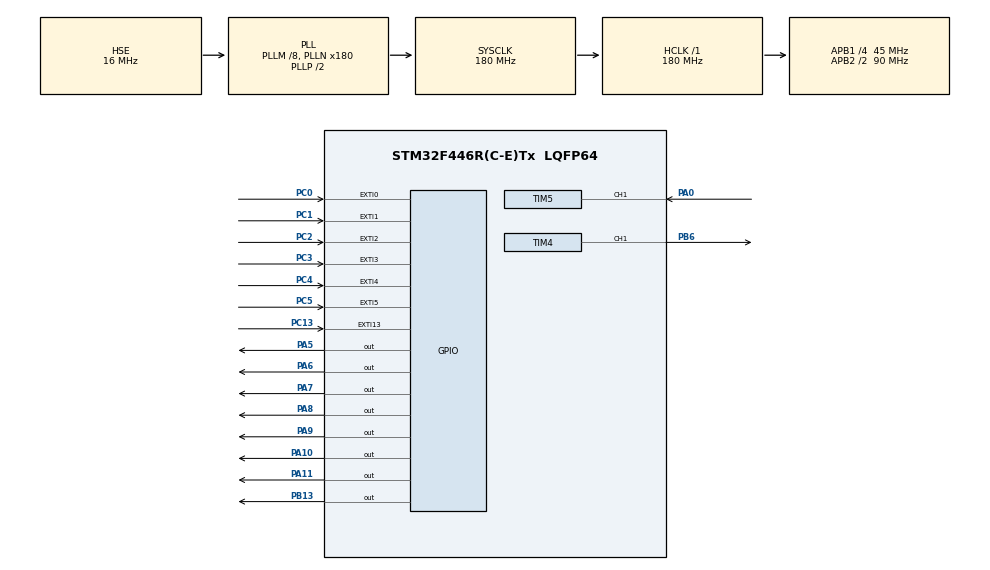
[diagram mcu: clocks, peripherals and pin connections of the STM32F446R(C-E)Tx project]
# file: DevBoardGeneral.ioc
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Dma.Request0=TIM5_CH1
Dma.Request1=TIM4_CH1
Dma.TIM4_CH1.1.Direction=DMA_PERIPH_TO_MEMORY
Dma.TIM4_CH1.1.FIFOMode=DMA_FIFOMODE_DISABLE
Dma.TIM4_CH1.1.Instance=DMA1_Stream0
Dma.TIM4_CH1.1.MemDataAlignment=DMA_MDATAALIGN_HALFWORD
Dma.TIM4_CH1.1.MemInc=DMA_MINC_ENABLE
Dma.TIM4_CH1.1.Mode=DMA_CIRCULAR
Dma.TIM4_CH1.1.PeriphDataAlignment=DMA_PDATAALIGN_HALFWORD
Dma.TIM4_CH1.1.PeriphInc=DMA_PINC_DISABLE
Dma.TIM4_CH1.1.Priority=DMA_PRIORITY_MEDIUM
Dma.TIM5_CH1.0.Direction=DMA_PERIPH_TO_MEMORY
Dma.TIM5_CH1.0.FIFOMode=DMA_FIFOMODE_DISABLE
Dma.TIM5_CH1.0.Instance=DMA1_Stream2
Dma.TIM5_CH1.0.MemDataAlignment=DMA_MDATAALIGN_WORD
Dma.TIM5_CH1.0.MemInc=DMA_MINC_ENABLE
Dma.TIM5_CH1.0.Mode=DMA_CIRCULAR
Dma.TIM5_CH1.0.PeriphDataAlignment=DMA_PDATAALIGN_WORD
Dma.TIM5_CH1.0.PeriphInc=DMA_PINC_DISABLE
Dma.TIM5_CH1.0.Priority=DMA_PRIORITY_HIGH
Mcu.Family=STM32F4
Mcu.Name=STM32F446R(C-E)Tx
Mcu.Package=LQFP64
NVIC.DMA1_Stream0_IRQn=true\:0\:0\:false\:false\:true
NVIC.DMA1_Stream2_IRQn=true\:0\:0\:false\:false\:true
NVIC.EXTI0_IRQn=true\:0\:0\:false\:false\:true
NVIC.EXTI15_10_IRQn=true\:0\:0\:false\:false\:true
NVIC.EXTI1_IRQn=true\:0\:0\:false\:false\:true
NVIC.EXTI2_IRQn=true\:0\:0\:false\:false\:true
NVIC.EXTI3_IRQn=true\:0\:0\:false\:false\:true
NVIC.EXTI4_IRQn=true\:0\:0\:false\:false\:true
NVIC.EXTI9_5_IRQn=true\:0\:0\:false\:false\:true
NVIC.PriorityGroup=NVIC_PRIORITYGROUP_4
NVIC.TIM1_UP_TIM10_IRQn=true\:0\:0\:false\:false\:true
NVIC.TIM4_IRQn=true\:0\:0\:false\:false\:true
NVIC.TIM5_IRQn=true\:0\:0\:false\:false\:true
PA0-WKUP.GPIO_Speed=GPIO_SPEED_FREQ_HIGH
PA0-WKUP.Signal=S_TIM5_CH1
PA10.GPIO_Speed=GPIO_SPEED_FREQ_HIGH
PA10.Signal=GPIO_Output
PA11.GPIO_Speed=GPIO_SPEED_FREQ_HIGH
PA11.Signal=GPIO_Output
PA13.Mode=Serial_Wire
PA13.Signal=SYS_JTMS-SWDIO
PA14.Mode=Serial_Wire
PA14.Signal=SYS_JTCK-SWCLK
PA5.GPIO_Speed=GPIO_SPEED_FREQ_HIGH
PA5.PinState=GPIO_PIN_SET
PA5.Signal=GPIO_Output
PA6.GPIO_Speed=GPIO_SPEED_FREQ_HIGH
PA6.Signal=GPIO_Output
PA7.GPIO_Speed=GPIO_SPEED_FREQ_HIGH
PA7.Signal=GPIO_Output
PA8.GPIO_Speed=GPIO_SPEED_FREQ_HIGH
PA8.Signal=GPIO_Output
PA9.GPIO_Speed=GPIO_SPEED_FREQ_HIGH
PA9.Signal=GPIO_Output
PB13.GPIO_Speed=GPIO_SPEED_FREQ_HIGH
PB13.PinState=GPIO_PIN_SET
PB13.Signal=GPIO_Output
PB6.GPIO_Speed=GPIO_SPEED_FREQ_HIGH
PB6.Signal=S_TIM4_CH1
PC0.Signal=GPXTI0
PC1.Signal=GPXTI1
PC13.Signal=GPXTI13
PC2.Signal=GPXTI2
PC3.Signal=GPXTI3
PC4.Signal=GPXTI4
PC5.Signal=GPXTI5
PH0-OSC_IN.Mode=HSE-External-Oscillator
PH0-OSC_IN.Signal=RCC_OSC_IN
PH1-OSC_OUT.Mode=HSE-External-Oscillator
PH1-OSC_OUT.Signal=RCC_OSC_OUT
ProjectManager.HeapSize=0x200
ProjectManager.StackSize=0x400
ProjectManager.TargetToolchain=MDK-ARM V5
RCC.AHBFreq_Value=180000000
RCC.APB1CLKDivider=RCC_HCLK_DIV4
RCC.APB1Freq_Value=45000000
RCC.APB1TimFreq_Value=90000000
RCC.APB2CLKDivider=RCC_HCLK_DIV2
RCC.APB2Freq_Value=90000000
RCC.APB2TimFreq_Value=180000000
RCC.CortexFreq_Value=180000000
RCC.HCLKFreq_Value=180000000
RCC.HSE_VALUE=16000000
RCC.PLLM=8
RCC.PLLN=180
RCC.PLLSourceVirtual=RCC_PLLSOURCE_HSE
RCC.SYSCLKFreq_VALUE=180000000
RCC.SYSCLKSource=RCC_SYSCLKSOURCE_PLLCLK
RCC.USBFreq_Value=180000000
RCC.VCOOutputFreq_Value=360000000
SH.S_TIM4_CH1.0=TIM4_CH1,PWM Generation1 CH1
SH.S_TIM5_CH1.0=TIM5_CH1,Input_Capture1_from_TI1
TIM1.Period=999
TIM1.Prescaler=179
TIM4.Channel-PWM\ Generation1\ CH1=TIM_CHANNEL_1
TIM4.Period=1799
TIM4.Pulse-PWM\ Generation1\ CH1=999
TIM5.Channel-Input_Capture1_from_TI1=TIM_CHANNEL_1
TIM5.Period=179999999
VP_TIM1_VS_ClockSourceINT.Mode=Internal
VP_TIM4_VS_ClockSourceINT.Mode=Internal
VP_TIM5_VS_ClockSourceINT.Mode=Internal
board=DevBoardGeneral

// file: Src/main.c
/**
  ******************************************************************************
  * File Name          : main.c
  * Description        : Main program body
  ******************************************************************************
  ** This notice applies to any and all portions of this file
  * that are not between comment pairs USER CODE BEGIN and
  * USER CODE END. Other portions of this file, whether
  * inserted by the user or by software development tools
  * are owned by their respective copyright owners.
  *
  * COPYRIGHT(c) 2018 STMicroelectronics
  *
  * Redistribution and use in source and binary forms, with or without modification,
  * are permitted provided that the following conditions are met:
  *   1. Redistributions of source code must retain the above copyright notice,
  *      this list of conditions and the following disclaimer.
  *   2. Redistributions in binary form must reproduce the above copyright notice,
  *      this list of conditions and the following disclaimer in the documentation
  *      and/or other materials provided with the distribution.
  *   3. Neither the name of STMicroelectronics nor the names of its contributors
  *      may be used to endorse or promote products derived from this software
  *      without specific prior written permission.
  *
  * THIS SOFTWARE IS PROVIDED BY THE COPYRIGHT HOLDERS AND CONTRIBUTORS "AS IS"
  * AND ANY EXPRESS OR IMPLIED WARRANTIES, INCLUDING, BUT NOT LIMITED TO, THE
  * IMPLIED WARRANTIES OF MERCHANTABILITY AND FITNESS FOR A PARTICULAR PURPOSE ARE
  * DISCLAIMED. IN NO EVENT SHALL THE COPYRIGHT HOLDER OR CONTRIBUTORS BE LIABLE
  * FOR ANY DIRECT, INDIRECT, INCIDENTAL, SPECIAL, EXEMPLARY, OR CONSEQUENTIAL
  * DAMAGES (INCLUDING, BUT NOT LIMITED TO, PROCUREMENT OF SUBSTITUTE GOODS OR
  * SERVICES; LOSS OF USE, DATA, OR PROFITS; OR BUSINESS INTERRUPTION) HOWEVER
  * CAUSED AND ON ANY THEORY OF LIABILITY, WHETHER IN CONTRACT, STRICT LIABILITY,
  * OR TORT (INCLUDING NEGLIGENCE OR OTHERWISE) ARISING IN ANY WAY OUT OF THE USE
  * OF THIS SOFTWARE, EVEN IF ADVISED OF THE POSSIBILITY OF SUCH DAMAGE.
  *
  ******************************************************************************
  */
#include "main.h"
#include "stm32f4xx_hal.h"

TIM_HandleTypeDef htim1;
TIM_HandleTypeDef htim4;
TIM_HandleTypeDef htim5;
DMA_HandleTypeDef hdma_tim4_ch1;
DMA_HandleTypeDef hdma_tim5_ch1;

/* USER CODE BEGIN PV */
/* Private variables ---------------------------------------------------------*/
uint32_t user_status = 0;

/* USER CODE END PV */

void SystemClock_Config(void);
static void MX_GPIO_Init(void);
static void MX_DMA_Init(void);
static void MX_TIM1_Init(void);
static void MX_TIM4_Init(void);
static void MX_TIM5_Init(void);

void HAL_TIM_MspPostInit(TIM_HandleTypeDef *htim);

/* USER CODE BEGIN PFP */
/* Private function prototypes -----------------------------------------------*/
void FLASH_Write(uint32_t _address, uint32_t _data);
uint32_t FLASH_Read(uint32_t _address);
/* USER CODE END PFP */

int main(void)
{

  /* MCU Configuration----------------------------------------------------------*/

  /* Reset of all peripherals, Initializes the Flash interface and the Systick. */
  HAL_Init();

  /* Configure the system clock */
  SystemClock_Config();

  /* Initialize all configured peripherals */
  MX_GPIO_Init();
  MX_DMA_Init();
  MX_TIM1_Init();
  MX_TIM4_Init();
  MX_TIM5_Init();

  /* USER CODE BEGIN 2 */
	HAL_TIM_Base_Start_IT(&htim1);
	HAL_TIM_Base_Start_IT(&htim4);
	HAL_TIM_Base_Start_IT(&htim5);
	HAL_TIM_PWM_Start(&htim4, TIM_CHANNEL_1);
	HAL_TIM_IC_Start_IT(&htim5, TIM_CHANNEL_1);

	// OFF with the on board led
	GPIOB->BSRR = (uint16_t)GPIO_PIN_13 << 16;
	GPIOA->BSRR = (uint16_t)GPIO_PIN_5 << 16;

	user_status = FLASH_Read(0x08060000); // start of sector 7

	if(user_status == 0x01){
		GPIOA->BSRR = GPIO_PIN_5;
	}else{
		FLASH_Write(0x08060000, 0x01);
	}

  /* USER CODE END 2 */

  /* Infinite loop */
  while (1)
  {

  }

}

/** System Clock Configuration
*/
void SystemClock_Config(void)
{

  RCC_OscInitTypeDef RCC_OscInitStruct;
  RCC_ClkInitTypeDef RCC_ClkInitStruct;

    /**Configure the main internal regulator output voltage
    */
  __HAL_RCC_PWR_CLK_ENABLE();

  __HAL_PWR_VOLTAGESCALING_CONFIG(PWR_REGULATOR_VOLTAGE_SCALE1);

    /**Initializes the CPU, AHB and APB busses clocks
    */
  RCC_OscInitStruct.OscillatorType = RCC_OSCILLATORTYPE_HSE;
  RCC_OscInitStruct.HSEState = RCC_HSE_ON;
  RCC_OscInitStruct.PLL.PLLState = RCC_PLL_ON;
  RCC_OscInitStruct.PLL.PLLSource = RCC_PLLSOURCE_HSE;
  RCC_OscInitStruct.PLL.PLLM = 8;
  RCC_OscInitStruct.PLL.PLLN = 180;
  RCC_OscInitStruct.PLL.PLLP = RCC_PLLP_DIV2;
  RCC_OscInitStruct.PLL.PLLQ = 2;
  RCC_OscInitStruct.PLL.PLLR = 2;
  if (HAL_RCC_OscConfig(&RCC_OscInitStruct) != HAL_OK)
  {
    _Error_Handler(__FILE__, __LINE__);
  }

    /**Activate the Over-Drive mode
    */
  if (HAL_PWREx_EnableOverDrive() != HAL_OK)
  {
    _Error_Handler(__FILE__, __LINE__);
  }

    /**Initializes the CPU, AHB and APB busses clocks
    */
  RCC_ClkInitStruct.ClockType = RCC_CLOCKTYPE_HCLK|RCC_CLOCKTYPE_SYSCLK
                              |RCC_CLOCKTYPE_PCLK1|RCC_CLOCKTYPE_PCLK2;
  RCC_ClkInitStruct.SYSCLKSource = RCC_SYSCLKSOURCE_PLLCLK;
  RCC_ClkInitStruct.AHBCLKDivider = RCC_SYSCLK_DIV1;
  RCC_ClkInitStruct.APB1CLKDivider = RCC_HCLK_DIV4;
  RCC_ClkInitStruct.APB2CLKDivider = RCC_HCLK_DIV2;

  if (HAL_RCC_ClockConfig(&RCC_ClkInitStruct, FLASH_LATENCY_5) != HAL_OK)
  {
    _Error_Handler(__FILE__, __LINE__);
  }

    /**Configure the Systick interrupt time
    */
  HAL_SYSTICK_Config(HAL_RCC_GetHCLKFreq()/1000);

    /**Configure the Systick
    */
  HAL_SYSTICK_CLKSourceConfig(SYSTICK_CLKSOURCE_HCLK);

  /* SysTick_IRQn interrupt configuration */
  HAL_NVIC_SetPriority(SysTick_IRQn, 0, 0);
}

/* TIM1 init function */
static void MX_TIM1_Init(void)
{

  TIM_ClockConfigTypeDef sClockSourceConfig;
  TIM_MasterConfigTypeDef sMasterConfig;

  htim1.Instance = TIM1;
  htim1.Init.Prescaler = 9;
  htim1.Init.CounterMode = TIM_COUNTERMODE_UP;
  htim1.Init.Period = 17999;
  htim1.Init.ClockDivision = TIM_CLOCKDIVISION_DIV1;
  htim1.Init.RepetitionCounter = 0;
  if (HAL_TIM_Base_Init(&htim1) != HAL_OK)
  {
    _Error_Handler(__FILE__, __LINE__);
  }

  sClockSourceConfig.ClockSource = TIM_CLOCKSOURCE_INTERNAL;
  if (HAL_TIM_ConfigClockSource(&htim1, &sClockSourceConfig) != HAL_OK)
  {
    _Error_Handler(__FILE__, __LINE__);
  }

  sMasterConfig.MasterOutputTrigger = TIM_TRGO_RESET;
  sMasterConfig.MasterSlaveMode = TIM_MASTERSLAVEMODE_DISABLE;
  if (HAL_TIMEx_MasterConfigSynchronization(&htim1, &sMasterConfig) != HAL_OK)
  {
    _Error_Handler(__FILE__, __LINE__);
  }

}

/* TIM4 init function */
static void MX_TIM4_Init(void)
{

  TIM_ClockConfigTypeDef sClockSourceConfig;
  TIM_MasterConfigTypeDef sMasterConfig;
  TIM_OC_InitTypeDef sConfigOC;

  htim4.Instance = TIM4;
  htim4.Init.Prescaler = 9;
  htim4.Init.CounterMode = TIM_COUNTERMODE_UP;
  htim4.Init.Period = 8999;
  htim4.Init.ClockDivision = TIM_CLOCKDIVISION_DIV1;
  if (HAL_TIM_Base_Init(&htim4) != HAL_OK)
  {
    _Error_Handler(__FILE__, __LINE__);
  }

  sClockSourceConfig.ClockSource = TIM_CLOCKSOURCE_INTERNAL;
  if (HAL_TIM_ConfigClockSource(&htim4, &sClockSourceConfig) != HAL_OK)
  {
    _Error_Handler(__FILE__, __LINE__);
  }

  if (HAL_TIM_PWM_Init(&htim4) != HAL_OK)
  {
    _Error_Handler(__FILE__, __LINE__);
  }

  sMasterConfig.MasterOutputTrigger = TIM_TRGO_RESET;
  sMasterConfig.MasterSlaveMode = TIM_MASTERSLAVEMODE_DISABLE;
  if (HAL_TIMEx_MasterConfigSynchronization(&htim4, &sMasterConfig) != HAL_OK)
  {
    _Error_Handler(__FILE__, __LINE__);
  }

  sConfigOC.OCMode = TIM_OCMODE_PWM1;
  sConfigOC.Pulse = 999;
  sConfigOC.OCPolarity = TIM_OCPOLARITY_HIGH;
  sConfigOC.OCFastMode = TIM_OCFAST_DISABLE;
  if (HAL_TIM_PWM_ConfigChannel(&htim4, &sConfigOC, TIM_CHANNEL_1) != HAL_OK)
  {
    _Error_Handler(__FILE__, __LINE__);
  }

  HAL_TIM_MspPostInit(&htim4);

}

/* TIM5 init function */
static void MX_TIM5_Init(void)
{

  TIM_ClockConfigTypeDef sClockSourceConfig;
  TIM_MasterConfigTypeDef sMasterConfig;
  TIM_IC_InitTypeDef sConfigIC;

  htim5.Instance = TIM5;
  htim5.Init.Prescaler = 0;
  htim5.Init.CounterMode = TIM_COUNTERMODE_UP;
  htim5.Init.Period = 89999999;
  htim5.Init.ClockDivision = TIM_CLOCKDIVISION_DIV1;
  if (HAL_TIM_Base_Init(&htim5) != HAL_OK)
  {
    _Error_Handler(__FILE__, __LINE__);
  }

  sClockSourceConfig.ClockSource = TIM_CLOCKSOURCE_INTERNAL;
  if (HAL_TIM_ConfigClockSource(&htim5, &sClockSourceConfig) != HAL_OK)
  {
    _Error_Handler(__FILE__, __LINE__);
  }

  if (HAL_TIM_IC_Init(&htim5) != HAL_OK)
  {
    _Error_Handler(__FILE__, __LINE__);
  }

  sMasterConfig.MasterOutputTrigger = TIM_TRGO_RESET;
  sMasterConfig.MasterSlaveMode = TIM_MASTERSLAVEMODE_DISABLE;
  if (HAL_TIMEx_MasterConfigSynchronization(&htim5, &sMasterConfig) != HAL_OK)
  {
    _Error_Handler(__FILE__, __LINE__);
  }

  sConfigIC.ICPolarity = TIM_INPUTCHANNELPOLARITY_RISING;
  sConfigIC.ICSelection = TIM_ICSELECTION_DIRECTTI;
  sConfigIC.ICPrescaler = TIM_ICPSC_DIV1;
  sConfigIC.ICFilter = 0;
  if (HAL_TIM_IC_ConfigChannel(&htim5, &sConfigIC, TIM_CHANNEL_1) != HAL_OK)
  {
    _Error_Handler(__FILE__, __LINE__);
  }

}

static void MX_DMA_Init(void)
{
  /* DMA controller clock enable */
  __HAL_RCC_DMA1_CLK_ENABLE();

  /* DMA interrupt init */
  /* DMA1_Stream0_IRQn interrupt configuration */
  HAL_NVIC_SetPriority(DMA1_Stream0_IRQn, 0, 0);
  HAL_NVIC_EnableIRQ(DMA1_Stream0_IRQn);
  /* DMA1_Stream2_IRQn interrupt configuration */
  HAL_NVIC_SetPriority(DMA1_Stream2_IRQn, 0, 0);
  HAL_NVIC_EnableIRQ(DMA1_Stream2_IRQn);

}

/** Configure pins as
        * Analog
        * Input
        * Output
        * EVENT_OUT
        * EXTI
*/
static void MX_GPIO_Init(void)
{

  GPIO_InitTypeDef GPIO_InitStruct;

  /* GPIO Ports Clock Enable */
  __HAL_RCC_GPIOC_CLK_ENABLE();
  __HAL_RCC_GPIOH_CLK_ENABLE();
  __HAL_RCC_GPIOA_CLK_ENABLE();
  __HAL_RCC_GPIOB_CLK_ENABLE();

  /*Configure GPIO pin Output Level */
  HAL_GPIO_WritePin(GPIOA, GPIO_PIN_5, GPIO_PIN_SET);

  /*Configure GPIO pin Output Level */
  HAL_GPIO_WritePin(GPIOA, GPIO_PIN_6|GPIO_PIN_7|GPIO_PIN_8|GPIO_PIN_9
                          |GPIO_PIN_10|GPIO_PIN_11, GPIO_PIN_RESET);

  /*Configure GPIO pin Output Level */
  HAL_GPIO_WritePin(GPIOB, GPIO_PIN_13, GPIO_PIN_SET);

  /*Configure GPIO pins : PC13 PC0 PC1 PC2
                           PC3 PC4 PC5 */
  GPIO_InitStruct.Pin = GPIO_PIN_13|GPIO_PIN_0|GPIO_PIN_1|GPIO_PIN_2
                          |GPIO_PIN_3|GPIO_PIN_4|GPIO_PIN_5;
  GPIO_InitStruct.Mode = GPIO_MODE_IT_RISING;
  GPIO_InitStruct.Pull = GPIO_NOPULL;
  HAL_GPIO_Init(GPIOC, &GPIO_InitStruct);

  /*Configure GPIO pins : PA5 PA6 PA7 PA8
                           PA9 PA10 PA11 */
  GPIO_InitStruct.Pin = GPIO_PIN_5|GPIO_PIN_6|GPIO_PIN_7|GPIO_PIN_8
                          |GPIO_PIN_9|GPIO_PIN_10|GPIO_PIN_11;
  GPIO_InitStruct.Mode = GPIO_MODE_OUTPUT_PP;
  GPIO_InitStruct.Pull = GPIO_NOPULL;
  GPIO_InitStruct.Speed = GPIO_SPEED_FREQ_HIGH;
  HAL_GPIO_Init(GPIOA, &GPIO_InitStruct);

  /*Configure GPIO pin : PB13 */
  GPIO_InitStruct.Pin = GPIO_PIN_13;
  GPIO_InitStruct.Mode = GPIO_MODE_OUTPUT_PP;
  GPIO_InitStruct.Pull = GPIO_NOPULL;
  GPIO_InitStruct.Speed = GPIO_SPEED_FREQ_HIGH;
  HAL_GPIO_Init(GPIOB, &GPIO_InitStruct);

  /* EXTI interrupt init*/
  HAL_NVIC_SetPriority(EXTI0_IRQn, 0, 0);
  HAL_NVIC_EnableIRQ(EXTI0_IRQn);

  HAL_NVIC_SetPriority(EXTI1_IRQn, 0, 0);
  HAL_NVIC_EnableIRQ(EXTI1_IRQn);

  HAL_NVIC_SetPriority(EXTI2_IRQn, 0, 0);
  HAL_NVIC_EnableIRQ(EXTI2_IRQn);

  HAL_NVIC_SetPriority(EXTI3_IRQn, 0, 0);
  HAL_NVIC_EnableIRQ(EXTI3_IRQn);

  HAL_NVIC_SetPriority(EXTI4_IRQn, 0, 0);
  HAL_NVIC_EnableIRQ(EXTI4_IRQn);

  HAL_NVIC_SetPriority(EXTI9_5_IRQn, 0, 0);
  HAL_NVIC_EnableIRQ(EXTI9_5_IRQn);

  HAL_NVIC_SetPriority(EXTI15_10_IRQn, 0, 0);
  HAL_NVIC_EnableIRQ(EXTI15_10_IRQn);

}

/* USER CODE BEGIN 4 */

void FLASH_Write(uint32_t _address, uint32_t _data){
	HAL_FLASH_Unlock();
	__HAL_FLASH_CLEAR_FLAG(FLASH_FLAG_EOP | FLASH_FLAG_OPERR | FLASH_FLAG_WRPERR | FLASH_FLAG_PGAERR | FLASH_FLAG_PGSERR );
	FLASH_Erase_Sector(FLASH_SECTOR_7, VOLTAGE_RANGE_3);
	HAL_FLASH_Program(FLASH_TYPEPROGRAM_WORD, _address, _data);
	HAL_FLASH_Lock();
}

// Read data from flash address
uint32_t FLASH_Read(uint32_t _address){
	uint32_t data = *(uint32_t *) _address;
	return data;
}
/* USER CODE END 4 */

void _Error_Handler(char * file, int line)
{
  while(1)
  {
  }
}

/************************ (C) COPYRIGHT STMicroelectronics *****END OF FILE****/
